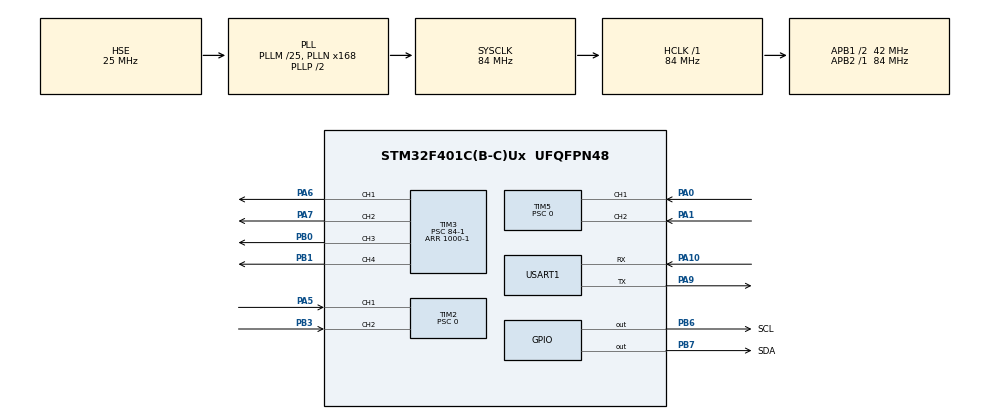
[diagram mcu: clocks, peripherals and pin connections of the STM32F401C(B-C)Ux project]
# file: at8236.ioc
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Mcu.Family=STM32F4
Mcu.Name=STM32F401C(B-C)Ux
Mcu.Package=UFQFPN48
NVIC.PriorityGroup=NVIC_PRIORITYGROUP_4
NVIC.TIM2_IRQn=true\:0\:0\:false\:false\:true\:true\:true\:true
NVIC.TIM4_IRQn=true\:0\:0\:false\:false\:true\:true\:true\:true
NVIC.TIM5_IRQn=true\:0\:0\:false\:false\:true\:true\:true\:true
NVIC.USART1_IRQn=true\:0\:0\:false\:false\:true\:true\:true\:true
PA0-WKUP.Signal=S_TIM5_CH1
PA1.Signal=S_TIM5_CH2
PA10.Mode=Asynchronous
PA10.Signal=USART1_RX
PA13.Mode=Serial_Wire
PA13.Signal=SYS_JTMS-SWDIO
PA14.Mode=Serial_Wire
PA14.Signal=SYS_JTCK-SWCLK
PA5.Signal=S_TIM2_CH1_ETR
PA6.Signal=S_TIM3_CH1
PA7.Signal=S_TIM3_CH2
PA9.Mode=Asynchronous
PA9.Signal=USART1_TX
PB0.Signal=S_TIM3_CH3
PB1.Signal=S_TIM3_CH4
PB3.Signal=S_TIM2_CH2
PB6.GPIO_Label=SCL
PB6.GPIO_ModeDefaultOutputPP=GPIO_MODE_OUTPUT_OD
PB6.GPIO_PuPd=GPIO_PULLUP
PB6.GPIO_Speed=GPIO_SPEED_FREQ_HIGH
PB6.Signal=GPIO_Output
PB7.GPIO_Label=SDA
PB7.GPIO_ModeDefaultOutputPP=GPIO_MODE_OUTPUT_OD
PB7.GPIO_PuPd=GPIO_PULLUP
PB7.GPIO_Speed=GPIO_SPEED_FREQ_HIGH
PB7.Signal=GPIO_Output
PH0\ -\ OSC_IN.Mode=HSE-External-Oscillator
PH0\ -\ OSC_IN.Signal=RCC_OSC_IN
PH1\ -\ OSC_OUT.Mode=HSE-External-Oscillator
PH1\ -\ OSC_OUT.Signal=RCC_OSC_OUT
ProjectManager.HeapSize=0x200
ProjectManager.StackSize=0x400
ProjectManager.TargetToolchain=MDK-ARM V5.32
RCC.48MHZClocksFreq_Value=42000000
RCC.AHBFreq_Value=84000000
RCC.APB1CLKDivider=RCC_HCLK_DIV2
RCC.APB1Freq_Value=42000000
RCC.APB1TimFreq_Value=84000000
RCC.APB2Freq_Value=84000000
RCC.APB2TimFreq_Value=84000000
RCC.CortexFreq_Value=84000000
RCC.HCLKFreq_Value=84000000
RCC.HSE_VALUE=25000000
RCC.HSI_VALUE=16000000
RCC.LSE_VALUE=32768
RCC.PLLM=25
RCC.PLLN=168
RCC.PLLSourceVirtual=RCC_PLLSOURCE_HSE
RCC.SYSCLKFreq_VALUE=84000000
RCC.SYSCLKSource=RCC_SYSCLKSOURCE_PLLCLK
RCC.VCOOutputFreq_Value=168000000
SH.S_TIM2_CH1_ETR.0=TIM2_CH1,Encoder_Interface
SH.S_TIM2_CH2.0=TIM2_CH2,Encoder_Interface
SH.S_TIM3_CH1.0=TIM3_CH1,PWM Generation1 CH1
SH.S_TIM3_CH2.0=TIM3_CH2,PWM Generation2 CH2
SH.S_TIM3_CH3.0=TIM3_CH3,PWM Generation3 CH3
SH.S_TIM3_CH4.0=TIM3_CH4,PWM Generation4 CH4
SH.S_TIM5_CH1.0=TIM5_CH1,Encoder_Interface
SH.S_TIM5_CH2.0=TIM5_CH2,Encoder_Interface
TIM2.AutoReloadPreload=TIM_AUTORELOAD_PRELOAD_ENABLE
TIM2.EncoderMode=TIM_ENCODERMODE_TI12
TIM2.IC1Filter=10
TIM2.IC2Filter=10
TIM2.Period=65535
TIM2.Prescaler=0
TIM3.Channel-PWM\ Generation1\ CH1=TIM_CHANNEL_1
TIM3.Channel-PWM\ Generation2\ CH2=TIM_CHANNEL_2
TIM3.Channel-PWM\ Generation3\ CH3=TIM_CHANNEL_3
TIM3.Channel-PWM\ Generation4\ CH4=TIM_CHANNEL_4
TIM3.OCMode_PWM-PWM\ Generation1\ CH1=TIM_OCMODE_PWM1
TIM3.OCMode_PWM-PWM\ Generation2\ CH2=TIM_OCMODE_PWM1
TIM3.OCMode_PWM-PWM\ Generation3\ CH3=TIM_OCMODE_PWM1
TIM3.OCMode_PWM-PWM\ Generation4\ CH4=TIM_OCMODE_PWM1
TIM3.OCPolarity_1=TIM_OCPOLARITY_HIGH
TIM3.OCPolarity_2=TIM_OCPOLARITY_HIGH
TIM3.OCPolarity_3=TIM_OCPOLARITY_HIGH
TIM3.OCPolarity_4=TIM_OCPOLARITY_HIGH
TIM3.Period=1000-1
TIM3.Prescaler=84-1
TIM4.Period=10000-1
TIM4.Prescaler=84-1
TIM5.AutoReloadPreload=TIM_AUTORELOAD_PRELOAD_ENABLE
TIM5.EncoderMode=TIM_ENCODERMODE_TI12
TIM5.IC1Filter=10
TIM5.IC2Filter=10
TIM5.Period=65535
TIM5.Prescaler=0
USART1.VirtualMode=VM_ASYNC
VP_TIM3_VS_ClockSourceINT.Mode=Internal
VP_TIM4_VS_ClockSourceINT.Mode=Internal
board=custom

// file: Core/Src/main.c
/* USER CODE BEGIN Header */
/**
  ******************************************************************************
  * @file           : main.c
  * @brief          : Main program body
  ******************************************************************************
  * @attention
  *
  * Copyright (c) 2025 STMicroelectronics.
  * All rights reserved.
  *
  * This software is licensed under terms that can be found in the LICENSE file
  * in the root directory of this software component.
  * If no LICENSE file comes with this software, it is provided AS-IS.
  *
  ******************************************************************************
  */
/* USER CODE END Header */
#include "main.h"
#include "tim.h"
#include "usart.h"
#include "gpio.h"

/* USER CODE BEGIN Includes */
#include "driver.h"
#include "Encoder.h"
#include "PID.h"
#include "IOI2C.h"
#include "delay.h"
#include "wit_c_sdk.h"
#include <stdio.h>
/* USER CODE END Includes */

/* USER CODE BEGIN PV */
#define ACC_UPDATE		0x01
#define GYRO_UPDATE		0x02
#define ANGLE_UPDATE	0x04
#define MAG_UPDATE		0x08
#define READ_UPDATE		0x80
static volatile char s_cDataUpdate = 0, s_cCmd = 0xff;
float fAcc[3], fGyro[3], fAngle[3];
float nx,ny,nz,lz;//当前xyz 上次z 圈数
int r=0;
/* USER CODE END PV */

void SystemClock_Config(void);
/* USER CODE BEGIN PFP */
static void AutoScanSensor(void);
static void CopeSensorData(uint32_t uiReg, uint32_t uiRegNum);
static void Delayms(uint16_t ucMs);
/* USER CODE END PFP */

int main(void)
{

  /* MCU Configuration--------------------------------------------------------*/

  /* Reset of all peripherals, Initializes the Flash interface and the Systick. */
  HAL_Init();

  /* Configure the system clock */
  SystemClock_Config();

  /* Initialize all configured peripherals */
  MX_GPIO_Init();
  MX_TIM2_Init();
  MX_TIM5_Init();
  MX_TIM3_Init();
  MX_TIM4_Init();
  MX_USART1_UART_Init();
  /* USER CODE BEGIN 2 */
	HAL_TIM_PWM_Start(&htim3, TIM_CHANNEL_1);
	HAL_TIM_PWM_Start(&htim3, TIM_CHANNEL_2);
	HAL_TIM_PWM_Start(&htim3, TIM_CHANNEL_3);
	HAL_TIM_PWM_Start(&htim3, TIM_CHANNEL_4);
	__HAL_TIM_CLEAR_FLAG(&htim2, TIM_FLAG_UPDATE);//清除标志位
	HAL_TIM_Encoder_Start(&htim2, TIM_CHANNEL_ALL);//打开编码器模式
	HAL_TIM_Base_Start_IT(&htim2);//打开tim2编码器模式和中断
	__HAL_TIM_CLEAR_FLAG(&htim5, TIM_FLAG_UPDATE);//清除标志位
	HAL_TIM_Encoder_Start(&htim5, TIM_CHANNEL_ALL);//打开编码器模式
	HAL_TIM_Base_Start_IT(&htim5);//开启定时器5中断
	HAL_TIM_Base_Start_IT(&htim4);
	pid_init();
	SysTick_Init();//delay时钟初始化
	IIC_Init();//iic初始化
	WitInit(WIT_PROTOCOL_I2C, 0x50);//jy61的iic地址
	WitI2cFuncRegister(IICwriteBytes, IICreadBytes);
	WitRegisterCallBack(CopeSensorData);
	WitDelayMsRegister(Delayms);
	AutoScanSensor();//扫传感器
  /* USER CODE END 2 */

  /* Infinite loop */
  /* USER CODE BEGIN WHILE */
  while (1)
  {
//		motorB_control(vel);
//		printf("%.2f\n",vel);

		WitReadReg(AX, 12);
		delay_ms(10);
		if(s_cDataUpdate)
		{
			for(int i = 0; i < 3; i++)
			{
//				fAcc[i] = sReg[AX+i] / 32768.0f * 16.0f;
//				fGyro[i] = sReg[GX+i] / 32768.0f * 2000.0f;
				fAngle[i] = sReg[Roll+i] / 32768.0f * 180.0f;
			}

			if(s_cDataUpdate & ANGLE_UPDATE)
			{
				nx=fAngle[0];ny=fAngle[1];nz=fAngle[2];

				if( nz-lz <= -350.0 ) r++; //上次为+ 现在为-
				if( nz-lz >= 350.0 ) r--;  //上次为- 现在为+
				lz = nz;	nz = 360.0*r + nz;

//				printf("angle: %.3f,%.3f,%.3f,%.3f,%d\r\n", nx, ny, nz,fAngle[2],r);

				s_cDataUpdate &= ~ANGLE_UPDATE;
			}
		}

    /* USER CODE END WHILE */

  }
}

void SystemClock_Config(void)
{
  RCC_OscInitTypeDef RCC_OscInitStruct = {0};
  RCC_ClkInitTypeDef RCC_ClkInitStruct = {0};

  /** Configure the main internal regulator output voltage
  */
  __HAL_RCC_PWR_CLK_ENABLE();
  __HAL_PWR_VOLTAGESCALING_CONFIG(PWR_REGULATOR_VOLTAGE_SCALE2);

  /** Initializes the RCC Oscillators according to the specified parameters
  * in the RCC_OscInitTypeDef structure.
  */
  RCC_OscInitStruct.OscillatorType = RCC_OSCILLATORTYPE_HSE;
  RCC_OscInitStruct.HSEState = RCC_HSE_ON;
  RCC_OscInitStruct.PLL.PLLState = RCC_PLL_ON;
  RCC_OscInitStruct.PLL.PLLSource = RCC_PLLSOURCE_HSE;
  RCC_OscInitStruct.PLL.PLLM = 25;
  RCC_OscInitStruct.PLL.PLLN = 168;
  RCC_OscInitStruct.PLL.PLLP = RCC_PLLP_DIV2;
  RCC_OscInitStruct.PLL.PLLQ = 4;
  if (HAL_RCC_OscConfig(&RCC_OscInitStruct) != HAL_OK)
  {
    Error_Handler();
  }

  /** Initializes the CPU, AHB and APB buses clocks
  */
  RCC_ClkInitStruct.ClockType = RCC_CLOCKTYPE_HCLK|RCC_CLOCKTYPE_SYSCLK
                              |RCC_CLOCKTYPE_PCLK1|RCC_CLOCKTYPE_PCLK2;
  RCC_ClkInitStruct.SYSCLKSource = RCC_SYSCLKSOURCE_PLLCLK;
  RCC_ClkInitStruct.AHBCLKDivider = RCC_SYSCLK_DIV1;
  RCC_ClkInitStruct.APB1CLKDivider = RCC_HCLK_DIV2;
  RCC_ClkInitStruct.APB2CLKDivider = RCC_HCLK_DIV1;

  if (HAL_RCC_ClockConfig(&RCC_ClkInitStruct, FLASH_LATENCY_2) != HAL_OK)
  {
    Error_Handler();
  }
}

/* USER CODE BEGIN 4 */
void CopeCmdData(unsigned char ucData)
{
	static unsigned char s_ucData[50], s_ucRxCnt = 0;

	s_ucData[s_ucRxCnt++] = ucData;
	if(s_ucRxCnt<3)return;										//Less than three data returned
	if(s_ucRxCnt >= 50) s_ucRxCnt = 0;
	if(s_ucRxCnt >= 3)
	{
		if((s_ucData[1] == '\r') && (s_ucData[2] == '\n'))
		{
			s_cCmd = s_ucData[0];
			memset(s_ucData,0,50);//
			s_ucRxCnt = 0;
		}
		else
		{
			s_ucData[0] = s_ucData[1];
			s_ucData[1] = s_ucData[2];
			s_ucRxCnt = 2;

		}
	}

}

static void CopeSensorData(uint32_t uiReg, uint32_t uiRegNum)
{
	int i;
    for(i = 0; i < uiRegNum; i++)
    {
        switch(uiReg)
        {
//            case AX:
//            case AY:
            case AZ:
				s_cDataUpdate |= ACC_UPDATE;
            break;
//            case GX:
//            case GY:
            case GZ:
				s_cDataUpdate |= GYRO_UPDATE;
            break;
//            case HX:
//            case HY:
            case HZ:
				s_cDataUpdate |= MAG_UPDATE;
            break;
//            case Roll:
//            case Pitch:
            case Yaw:
				s_cDataUpdate |= ANGLE_UPDATE;
            break;
            default:
				s_cDataUpdate |= READ_UPDATE;
			break;
        }
		uiReg++;
    }
}

static void Delayms(uint16_t ucMs)
{
	delay_ms(ucMs);
}

static void AutoScanSensor(void)
{
	int i, iRetry;

	for(i = 0; i < 0x7F; i++)
	{
		WitInit(WIT_PROTOCOL_I2C, i);
		iRetry = 2;
		do
		{
			s_cDataUpdate = 0;
			WitReadReg(AX, 3);
			delay_ms(5);
			if(s_cDataUpdate != 0)
			{
				printf("find %02X addr sensor\r\n", i);
				return ;
			}
			iRetry--;
		}while(iRetry);
	}
	printf("can not find sensor\r\n");
	printf("please check your connection\r\n");
}

/* USER CODE END 4 */

void Error_Handler(void)
{
  __disable_irq();
  while (1)
  {
  }
}
